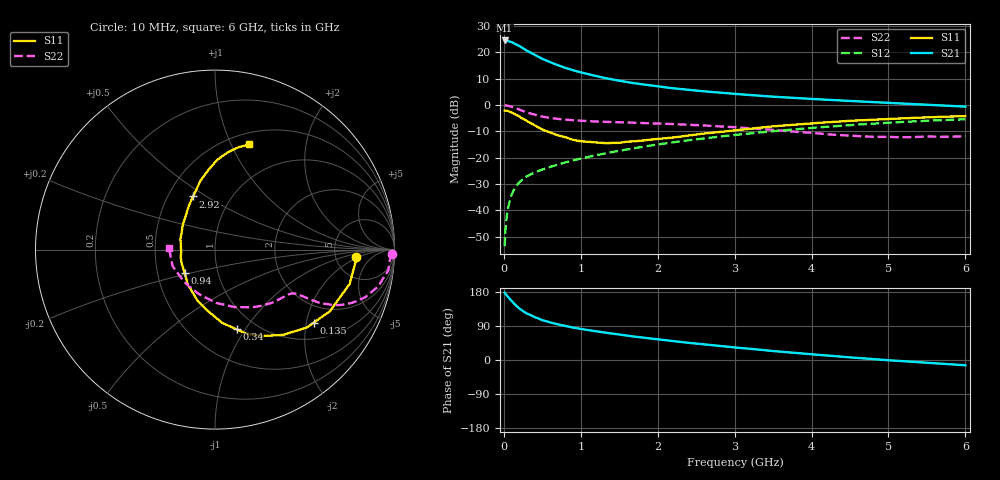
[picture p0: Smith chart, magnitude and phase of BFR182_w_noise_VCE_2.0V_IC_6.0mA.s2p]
! Infineon Technologies  Discrete & RF Semiconductors
! BFR182
! VCE =  2.0 V,  IC =  6.0 mA
! Common Emitter S-Parameters:  Nov 2015
# GHz  S  MA  R  50
!  f  S11  S21  S12  S22
! GHz  MAG  ANG  MAG  ANG  MAG  ANG  MAG  ANG
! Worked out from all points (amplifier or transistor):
!   210 points, 10 MHz to 6 GHz, reference 50 ohm
!   highest |S21| = 24.5 dB at 10 MHz (marker M1)
!   |S21| within 3 dB of that: start of sweep to 251.9 MHz
!   unconditionally stable (mu >= 1): 952.9 MHz to 2.773 GHz
!   at 185 MHz: K = 0.38, MSG = 26.2 dB, |S12| = -29.8 dB
!   at 1.52 GHz: K = 1.06, MAG = 11.7 dB, |S12| = -17.3 dB
!   at 6 GHz: K = 0.89, MSG = 2.4 dB, |S12| = -5.4 dB
!   lowest NFmin = 1.20 dB at 450 MHz
!   S11 on the Smith chart (normalised r, x): 10 MHz: 7.91, -1.81; 135 MHz: 1.44, -2.20; 340 MHz: 0.81, -0.92; 940 MHz: 0.69, -0.19; 2.92 GHz: 0.67, +0.44; 6 GHz: 0.62, +1.18
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0.01  0.7856 -3.2  16.76 177.5  0.0021 93.0  0.9882 -1.4
0.05  0.7743 -14.3  16.44 167.5  0.0101 83.2  0.9726 -6.8
0.1  0.7264 -28.3  15.7 155.9  0.0197 76.3  0.9312 -12.8
0.135  0.6836 -36.6  14.7 148.4  0.0252 72.2  0.8925 -16.2
0.15  0.6701 -40.5  14.35 144.9  0.0276 70.9  0.8769 -17.7
0.2  0.6074 -51.5  13.2 136.2  0.0343 67.5  0.82 -21.2
0.26  0.5368 -63.2  11.67 127.5  0.0403 63.8  0.7567 -24.1
0.3  0.5 -69.6  10.73 122.6  0.0445 62.9  0.7223 -25.3
0.34  0.4605 -74.8  9.983 119.2  0.0476 62.2  0.6947 -25.9
0.4  0.41 -84.4  8.944 113.2  0.0523 61.2  0.6536 -27.0
0.5  0.3416 -97.4  7.506 105.1  0.0598 61.2  0.602 -27.6
0.6  0.302 -108.6  6.488 99.2  0.0669 61.6  0.5675 -27.9
0.76  0.2526 -124.4  5.307 91.5  0.0785 62.0  0.5346 -28.2
0.94  0.2127 -142.8  4.395 84.1  0.0917 62.9  0.5094 -28.8
1.02  0.2044 -150.5  4.094 81.3  0.0978 63.2  0.5008 -29.1
1.4  0.1906 177.2  3.066 69.9  0.1272 63.7  0.4756 -32.3
2.02  0.2279 141.4  2.235 54.2  0.18 61.5  0.4444 -40.0
2.92  0.3206 112.4  1.661 34.8  0.2624 55.2  0.3853 -56.1
3.1  0.3422 108.6  1.584 31.4  0.2793 53.4  0.3698 -60.3
4.1  0.4588 93.0  1.281 13.4  0.377 43.1  0.2875 -92.6
5.1  0.5523 81.5  1.084 -1.9  0.4701 30.7  0.2461 -138.7
6  0.6166 71.9  0.932 -13.9  0.5359 17.9  0.2567 178.2
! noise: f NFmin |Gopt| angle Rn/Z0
0.45  1.2  0.27  37  0.3
0.9  1.3  0.25  75  0.23
1.8  1.9  0.21  145  0.2
